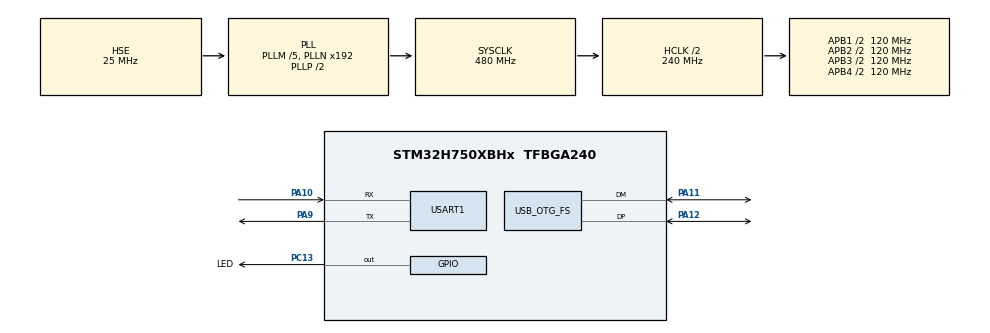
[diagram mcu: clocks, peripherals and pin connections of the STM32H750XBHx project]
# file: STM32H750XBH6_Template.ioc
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Mcu.Family=STM32H7
Mcu.Name=STM32H750XBHx
Mcu.Package=TFBGA240
NVIC.OTG_FS_IRQn=true\:0\:0\:false\:false\:true\:false\:true\:true
NVIC.PriorityGroup=NVIC_PRIORITYGROUP_4
NVIC.USART1_IRQn=true\:0\:0\:false\:false\:true\:true\:true\:true
PA10.Mode=Asynchronous
PA10.Signal=USART1_RX
PA11.Mode=Device_Only
PA11.Signal=USB_OTG_FS_DM
PA12.Mode=Device_Only
PA12.Signal=USB_OTG_FS_DP
PA13\ (JTMS/SWDIO).Mode=Serial_Wire
PA13\ (JTMS/SWDIO).Signal=DEBUG_JTMS-SWDIO
PA14\ (JTCK/SWCLK).Mode=Serial_Wire
PA14\ (JTCK/SWCLK).Signal=DEBUG_JTCK-SWCLK
PA9.Mode=Asynchronous
PA9.Signal=USART1_TX
PC13.GPIO_Label=LED
PC13.PinState=GPIO_PIN_SET
PC13.Signal=GPIO_Output
PC14-OSC32_IN\ (OSC32_IN).Mode=LSE-External-Oscillator
PC14-OSC32_IN\ (OSC32_IN).Signal=RCC_OSC32_IN
PC15-OSC32_OUT\ (OSC32_OUT).Mode=LSE-External-Oscillator
PC15-OSC32_OUT\ (OSC32_OUT).Signal=RCC_OSC32_OUT
PH0-OSC_IN\ (PH0).Mode=HSE-External-Oscillator
PH0-OSC_IN\ (PH0).Signal=RCC_OSC_IN
PH1-OSC_OUT\ (PH1).Mode=HSE-External-Oscillator
PH1-OSC_OUT\ (PH1).Signal=RCC_OSC_OUT
ProjectManager.HeapSize=0x200
ProjectManager.StackSize=0x400
ProjectManager.TargetToolchain=CMake
RCC.ADCFreq_Value=480000000
RCC.APB1Freq_Value=120000000
RCC.APB2Freq_Value=120000000
RCC.APB3Freq_Value=120000000
RCC.APB4Freq_Value=120000000
RCC.CortexFreq_Value=480000000
RCC.D1PPRE=RCC_APB3_DIV2
RCC.D2PPRE1=RCC_APB1_DIV2
RCC.D2PPRE2=RCC_APB2_DIV2
RCC.D3PPRE=RCC_APB4_DIV2
RCC.DIVM1=5
RCC.DIVM2=5
RCC.DIVM3=5
RCC.DIVN1=192
RCC.DIVN2=192
RCC.DIVN3=192
RCC.HCLKFreq_Value=240000000
RCC.HPRE=RCC_HCLK_DIV2
RCC.PLLFRACN=0
RCC.PLLSourceVirtual=RCC_PLLSOURCE_HSE
RCC.SYSCLKFreq_VALUE=480000000
RCC.SYSCLKSource=RCC_SYSCLKSOURCE_PLLCLK
RCC.USBCLockSelection=RCC_USBCLKSOURCE_HSI48
RCC.USBFreq_Value=48000000
USART1.VirtualMode-Asynchronous=VM_ASYNC
USB_DEVICE.CLASS_NAME_FS=CDC
USB_DEVICE.VirtualMode-CDC_FS=Cdc
USB_DEVICE.VirtualModeFS=Cdc_FS
USB_OTG_FS.VirtualMode=Device_Only
VP_MEMORYMAP_VS_MEMORYMAP.Mode=CurAppReg
VP_USB_DEVICE_VS_USB_DEVICE_CDC_FS.Mode=CDC_FS
board=custom

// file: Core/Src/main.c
/* USER CODE BEGIN Header */
/**
  ******************************************************************************
  * @file           : main.c
  * @brief          : Main program body
  ******************************************************************************
  * @attention
  *
  * Copyright (c) 2025 STMicroelectronics.
  * All rights reserved.
  *
  * This software is licensed under terms that can be found in the LICENSE file
  * in the root directory of this software component.
  * If no LICENSE file comes with this software, it is provided AS-IS.
  *
  ******************************************************************************
  */
/* USER CODE END Header */
#include "main.h"
#include "usart.h"
#include "usb_device.h"
#include "gpio.h"

/* USER CODE BEGIN Includes */
#include "retarget.h"           //重定向printf
#include "usbd_cdc_if.h"        //USB虚拟串口
/* USER CODE END Includes */

/* USER CODE BEGIN PV */
float user_time = 1.0F;
uint8_t user_i = 0;
unsigned char buff[20] = {"USB_CDC\r\n"};
/* USER CODE END PV */

void SystemClock_Config(void);

int main(void) {

    /* MCU Configuration--------------------------------------------------------*/

    /* Reset of all peripherals, Initializes the Flash interface and the Systick. */
    HAL_Init();

    /* USER CODE BEGIN Init */
    RetargetInit(&huart1); //重定向printf
    /* USER CODE END Init */

    /* Configure the system clock */
    SystemClock_Config();

    /* Initialize all configured peripherals */
    MX_GPIO_Init();
    MX_USART1_UART_Init();
    MX_USB_DEVICE_Init();

    /* Infinite loop */
    while (1) {

        /* USER CODE BEGIN 3 */
        user_time += 0.5F;
        user_i += 1;
        HAL_GPIO_TogglePin(LED_GPIO_Port, LED_Pin);

        //串口打印测试
        printf("%.5f\r\n", user_time);
        printf("%d\r\n", user_i);

        //USB虚拟串口打印测试
        CDC_Transmit_FS(buff, sizeof(buff));
        usb_printf("%.5f\r\n", user_time);
        usb_printf("%s\r\n", buff);

        printf("test\r\n");
        HAL_Delay(500);
    }
    /* USER CODE END 3 */
}

void SystemClock_Config(void) {
    RCC_OscInitTypeDef RCC_OscInitStruct = {0};
    RCC_ClkInitTypeDef RCC_ClkInitStruct = {0};

    /** Supply configuration update enable
    */
    HAL_PWREx_ConfigSupply(PWR_LDO_SUPPLY);

    /** Configure the main internal regulator output voltage
    */
    __HAL_PWR_VOLTAGESCALING_CONFIG(PWR_REGULATOR_VOLTAGE_SCALE0);

    while (!__HAL_PWR_GET_FLAG(PWR_FLAG_VOSRDY)) {
    }

    /** Initializes the RCC Oscillators according to the specified parameters
    * in the RCC_OscInitTypeDef structure.
    */
    RCC_OscInitStruct.OscillatorType = RCC_OSCILLATORTYPE_HSI48 | RCC_OSCILLATORTYPE_HSE;
    RCC_OscInitStruct.HSEState = RCC_HSE_ON;
    RCC_OscInitStruct.HSI48State = RCC_HSI48_ON;
    RCC_OscInitStruct.PLL.PLLState = RCC_PLL_ON;
    RCC_OscInitStruct.PLL.PLLSource = RCC_PLLSOURCE_HSE;
    RCC_OscInitStruct.PLL.PLLM = 5;
    RCC_OscInitStruct.PLL.PLLN = 192;
    RCC_OscInitStruct.PLL.PLLP = 2;
    RCC_OscInitStruct.PLL.PLLQ = 2;
    RCC_OscInitStruct.PLL.PLLR = 2;
    RCC_OscInitStruct.PLL.PLLRGE = RCC_PLL1VCIRANGE_2;
    RCC_OscInitStruct.PLL.PLLVCOSEL = RCC_PLL1VCOWIDE;
    RCC_OscInitStruct.PLL.PLLFRACN = 0;
    if (HAL_RCC_OscConfig(&RCC_OscInitStruct) != HAL_OK) {
        Error_Handler();
    }

    /** Initializes the CPU, AHB and APB buses clocks
    */
    RCC_ClkInitStruct.ClockType = RCC_CLOCKTYPE_HCLK | RCC_CLOCKTYPE_SYSCLK
                                  | RCC_CLOCKTYPE_PCLK1 | RCC_CLOCKTYPE_PCLK2
                                  | RCC_CLOCKTYPE_D3PCLK1 | RCC_CLOCKTYPE_D1PCLK1;
    RCC_ClkInitStruct.SYSCLKSource = RCC_SYSCLKSOURCE_PLLCLK;
    RCC_ClkInitStruct.SYSCLKDivider = RCC_SYSCLK_DIV1;
    RCC_ClkInitStruct.AHBCLKDivider = RCC_HCLK_DIV2;
    RCC_ClkInitStruct.APB3CLKDivider = RCC_APB3_DIV2;
    RCC_ClkInitStruct.APB1CLKDivider = RCC_APB1_DIV2;
    RCC_ClkInitStruct.APB2CLKDivider = RCC_APB2_DIV2;
    RCC_ClkInitStruct.APB4CLKDivider = RCC_APB4_DIV2;

    if (HAL_RCC_ClockConfig(&RCC_ClkInitStruct, FLASH_LATENCY_4) != HAL_OK) {
        Error_Handler();
    }
}

void Error_Handler(void) {
    __disable_irq();
    while (1) {
    }
}
